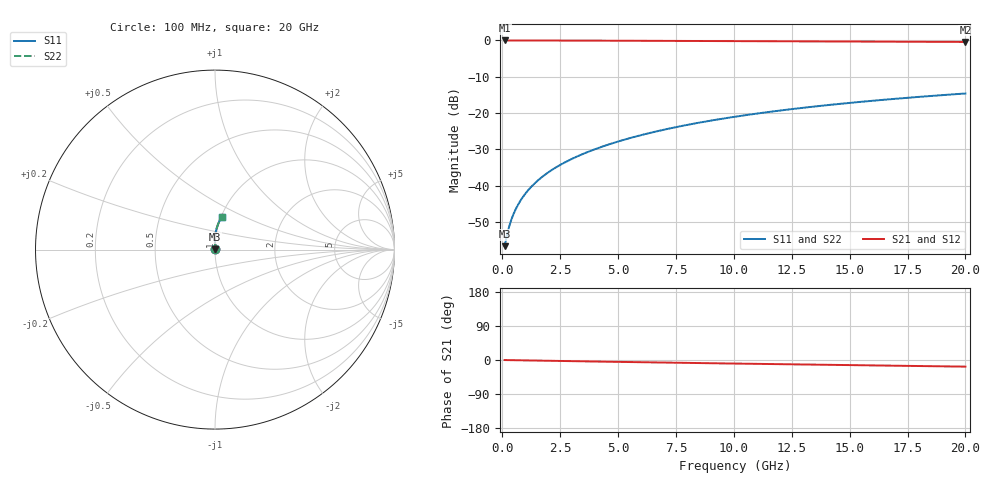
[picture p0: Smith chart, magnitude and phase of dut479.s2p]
! Touchstone file exported from HFSS 2024.1.0
!  File:  C:/UserFiles/LocalFiles/RDL_TSV_Batchsim/temp_RDL_top_479_1779678220.aedt
!  Generated:  11:06:13 AM May 25, 2026
!  Design:  RDL_top
!  Project:  temp_RDL_top_479_1779678220
!  Setup:  Setup1
!  Solution:  Sweep
! Variables:
!  dtsv = 10.80580581um
!  hbump = 3um
!  htsv = 80.7um
!  ldown = 100um
!  lrdl = 210.44um
!  p = 40
!  p1 = 55.3um
!  rhole = 1um
!  t = 450um
!  tdown = 3.915915916um
!  trdl = 3.02um
!  wdown = 15.38538539um
!  wrdl = 26.79um
# GHz S MA R 50.000000
! Terminal data exported
! Port[1] = Box2_T1
! Port[2] = Box2_T2
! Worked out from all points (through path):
!   200 points, 100 MHz to 20 GHz, reference 50 ohm
!   highest |S21| = -0.01 dB at 100 MHz (marker M1); lowest = -0.4 dB at 20 GHz (marker M2)
!   group delay of S21, straight-line fit = 2.4 ps
!   lowest |S11| = -56.6 dB at 100 MHz (marker M3), VSWR 1.00, Z = 50.1 + j0.0845 ohm
!   |S11| at or under -10 dB: start of sweep to end of sweep
!   |S22| runs from -56.6 to -14.6 dB; largest |S21 - S12| = 3.2e-15
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0.1  0.001475 34.9  0.9988 -0.1  0.9988 -0.1  0.001475 34.9
! Gamma 0 0 0 0
! Port Impedance 50 0 50 0
0.2  0.002083 52.8  0.9987 -0.2  0.9987 -0.2  0.002083 52.8
0.3  0.002774 61.7  0.9986 -0.3  0.9986 -0.3  0.002774 61.7
0.4  0.00348 67.1  0.9986 -0.4  0.9986 -0.4  0.00348 67.1
0.5  0.00419 70.7  0.9985 -0.5  0.9985 -0.5  0.00419 70.7
0.6  0.004904 73.4  0.9984 -0.6  0.9984 -0.6  0.004904 73.4
0.8  0.006347 77.3  0.9983 -0.8  0.9983 -0.8  0.006347 77.3
1.1  0.008552 80.9  0.998 -1.1  0.998 -1.1  0.008552 80.9
1.3  0.01004 82.6  0.9978 -1.3  0.9978 -1.3  0.01004 82.6
1.6  0.01232 84.5  0.9975 -1.6  0.9975 -1.6  0.01232 84.5
2.1  0.01618 86.7  0.9968 -2.2  0.9968 -2.2  0.01618 86.7
2.7  0.02095 88.3  0.9959 -2.7  0.9959 -2.7  0.02095 88.3
3.5  0.02755 89.7  0.9943 -3.5  0.9943 -3.5  0.02755 89.7
4.2  0.03354 90.4  0.9928 -4.2  0.9928 -4.2  0.03354 90.4
5  0.04063 90.8  0.9908 -5.0  0.9908 -5.0  0.04063 90.8
5.9  0.04888 90.9  0.9885 -5.8  0.9885 -5.8  0.04888 90.9
6.8  0.05736 90.7  0.9861 -6.6  0.9861 -6.6  0.05735 90.7
8.4  0.07284 89.8  0.9819 -8.0  0.9819 -8.0  0.07284 89.8
10.1  0.08963 88.4  0.9774 -9.5  0.9774 -9.5  0.08962 88.4
13.4  0.1224 85.2  0.9691 -12.2  0.9691 -12.2  0.1224 85.2
16.7  0.1547 81.9  0.961 -14.9  0.961 -14.9  0.1547 81.9
20  0.1862 78.6  0.9529 -17.5  0.9529 -17.5  0.1861 78.6
